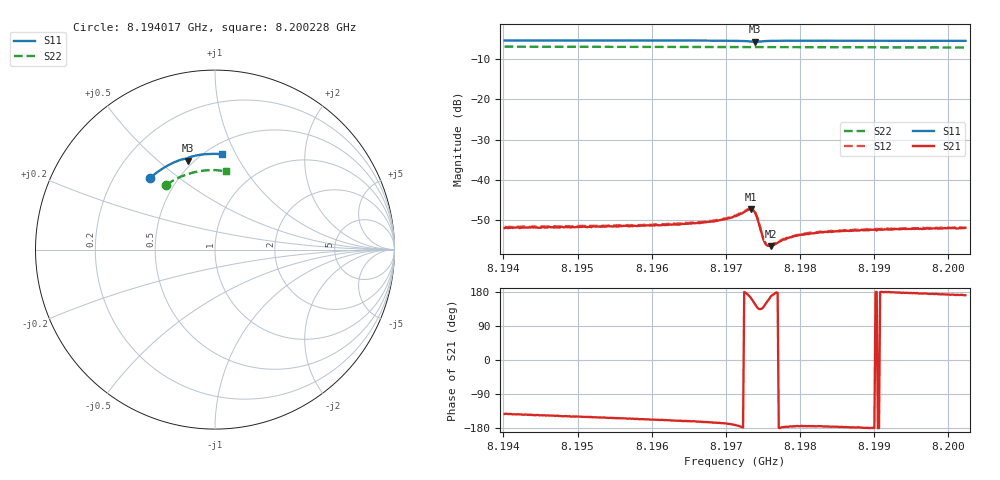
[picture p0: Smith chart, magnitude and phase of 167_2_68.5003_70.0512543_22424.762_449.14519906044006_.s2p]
#  HZ  S  RI  R  50.00
! Rohde & Schwarz Vector Network Analyzer
! Rohde-Schwarz,ZNB20-2Port,1311601062101988,3.16
! Created: UTC 3/20/2024, 5:11:11 PM
! freq[Hz]  re:S11  im:S11  re:S21  im:S21  re:S12  im:S12  re:S22  im:S22
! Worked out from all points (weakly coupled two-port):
!   401 points, 8.194017 GHz to 8.200228 GHz, reference 50 ohm
!   highest |S21| = -47.19 dB at 8.19734 GHz (marker M1); lowest = -56.4 dB at 8.197604 GHz (marker M2)
!   lowest |S11| = -5.7 dB at 8.197386 GHz (marker M3), VSWR 3.15, Z = 23.2 + j31.5 ohm
!   |S11| at or under -10 dB: nowhere
!   |S22| runs from -7.1 to -6.9 dB; largest |S21 - S12| = 0.00022
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8.1940171e9  -0.3631 0.3978  -0.00202 -0.00155  -0.00214 -0.00155  -0.2704 0.3613
8.1950574e9  -0.3051 0.4429  -0.00227 -0.00131  -0.00239 -0.00128  -0.2208 0.3917
8.1960977e9  -0.2411 0.4796  -0.00257 -0.00102  -0.00268 -0.001  -0.1675 0.4155
8.1963617e9  -0.224 0.4876  -0.00263 -0.000945  -0.00277 -0.000913  -0.1535 0.4204
8.1966877e9  -0.2021 0.4965  -0.00285 -0.000854  -0.00293 -0.000742  -0.1359 0.4259
8.1969206e9  -0.1853 0.5022  -0.00311 -0.000766  -0.00318 -0.000634  -0.1232 0.4292
8.1971225e9  -0.1693 0.5059  -0.00354 -0.000521  -0.00362 -0.000383  -0.1121 0.4319
8.1972933e9  -0.1535 0.5037  -0.00422 0.000525  -0.00431 0.000702  -0.1026 0.434
8.1973399e9  -0.1505 0.5  -0.00417 0.00131  -0.00419 0.00152  -0.1001 0.4342
8.1973709e9  -0.1509 0.4969  -0.00377 0.00187  -0.00375 0.00207  -0.0983 0.4345
8.1973864e9  -0.1518 0.4958  -0.00343 0.00212  -0.00341 0.0023  -0.0976 0.4347
8.1974175e9  -0.1545 0.4954  -0.00265 0.00226  -0.00262 0.00241  -0.0961 0.4349
8.1974951e9  -0.1567 0.5025  -0.00146 0.00135  -0.00143 0.00143  -0.0918 0.4359
8.1975262e9  -0.1553 0.5054  -0.00138 0.000949  -0.00134 0.00104  -0.0901 0.4362
8.1975572e9  -0.1531 0.5079  -0.0014 0.000666  -0.00141 0.000742  -0.0884 0.4367
8.1976038e9  -0.1496 0.5107  -0.00148 0.000329  -0.00149 0.000438  -0.0859 0.4371
8.1978367e9  -0.1312 0.5182  -0.00191 -0.000114  -0.00194 -8.26e-05  -0.0726 0.4391
8.197992e9  -0.1197 0.5213  -0.00208 -0.000184  -0.0021 -0.000136  -0.064 0.4403
8.1981628e9  -0.1072 0.5239  -0.00218 -0.000216  -0.00219 -0.000118  -0.0543 0.4412
8.1986131e9  -0.075 0.5293  -0.00238 -0.000128  -0.00239 -8.19e-06  -0.029 0.4428
8.1992031e9  -0.0332 0.533  -0.00245 3.99e-05  -0.00247 0.000189  0.00457 0.4427
8.2002279e9  0.0395 0.5314  -0.00254 0.000403  -0.00254 0.000499  0.0626 0.4362
